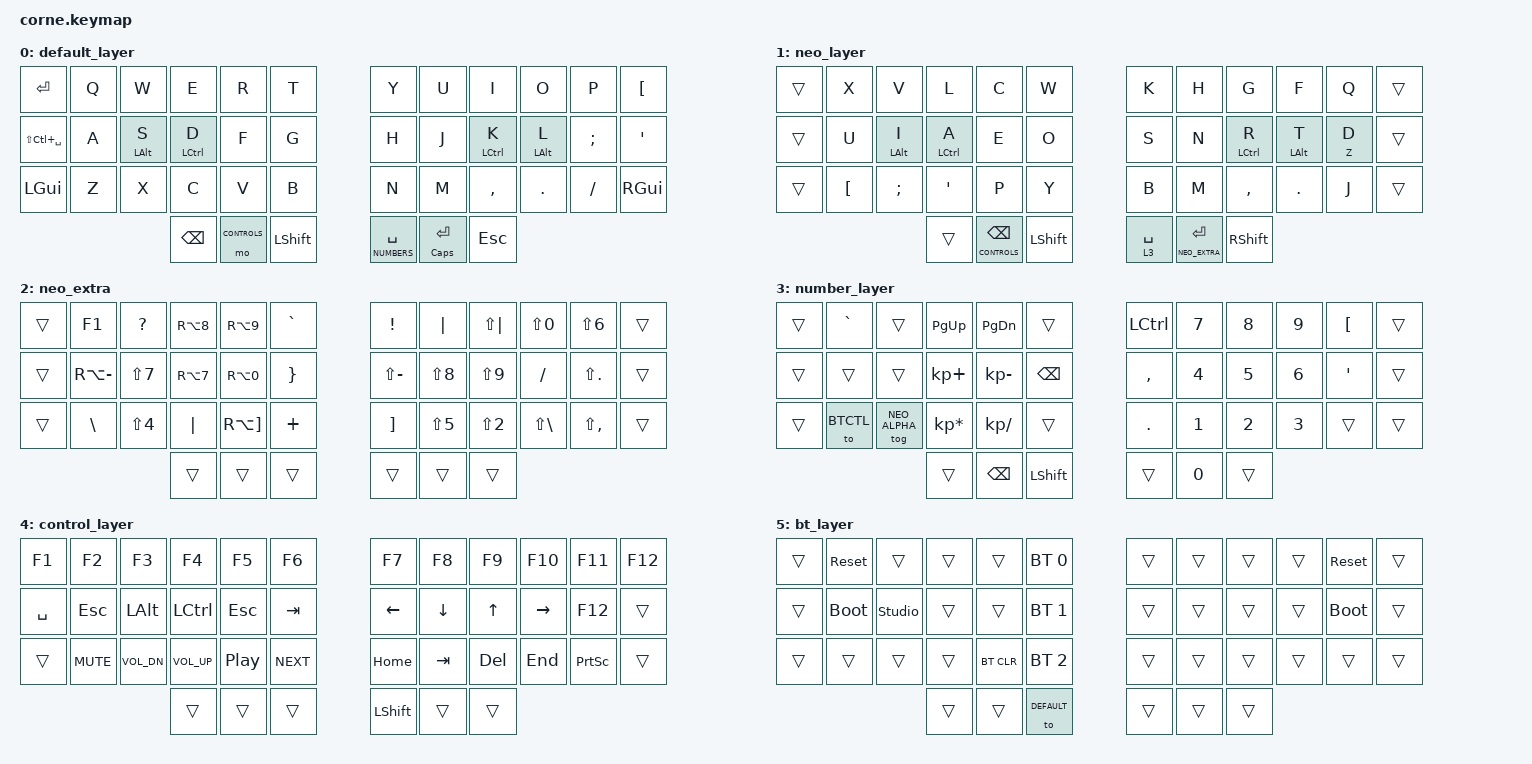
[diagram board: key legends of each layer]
// Copyright (c) 2022 The ZMK Contributors
// SPDX-License-Identifier: MIT

#include <behaviors.dtsi>
#include <dt-bindings/zmk/keys.h>
#include <dt-bindings/zmk/bt.h>

#define DEFAULT 0
#define NEO_ALPHA 1
#define NEO_EXTRA 2
#define NUMBERS 3
#define CONTROLS 4
#define BTCTL 5

&lt {
    tapping-term-ms = <150>;
    flavor = "tap-preferred";
};

/ {
    behaviors {
        ht: hold_tap {
            label = "hold_tap";
            compatible = "zmk,behavior-hold-tap";
            #binding-cells = <2>;
            flavor = "tap-preferred";
            tapping-term-ms = <150>;
            bindings = <&kp>, <&kp>;
            quick-tap-ms = <50>;
        };
    };

    keymap {
        compatible = "zmk,keymap";
        default_layer {
            bindings = <
        //╭──────────┬──────────┬──────────┬──────────┬──────────╮   ╭──────────┬──────────┬──────────┬──────────┬──────────╮
        //│  Q        │  W        │  E        │  R         │  T        │    │  Y       │  U         │  I        │  O         │  P        │ Ü
    &kp ENTER &kp Q      &kp W      &kp E      &kp R      &kp T                 &kp Y      &kp U      &kp I      &kp O      &kp P  &kp LBKT
        //├──────────┼──────────┼──────────┼──────────┼──────────┤   ├──────────┼──────────┼──────────┼──────────┼──────────┤
        //│  A         │  S        │  D        │  F        │  G         │   │  H        │  J        │  K        │  L         │ ' "       │
    &kp LS(LC(SPACE))  &kp A       &ht LALT S  &ht LCTRL D &kp F     &kp G               &kp H       &kp J       &ht LCTRL K &ht LALT L    &kp SEMICOLON &kp SINGLE_QUOTE
        //├──────────┼──────────┼──────────┼──────────┼──────────┤   ├──────────┼──────────┼──────────┼──────────┼──────────┤
        //│  Z        │  X         │  C        │  V        │  B         │  │  N         │  M        │ , <       │ . >        │ / ?       │
    &kp LEFT_GUI  &kp Z    &kp X      &kp C      &kp V      &kp B                 &kp N      &kp M      &kp COMMA  &kp DOT    &kp FSLH   &kp RIGHT_GUI
        //╰──────────┴──────────┴──────────┼──────────┼──────────┤   ├──────────┼──────────┼──────────┴──────────┴──────────╯
                                 &kp BSPC  &mo CONTROLS &kp LSHFT     &lt NUMBERS SPACE  &ht CAPS ENTER  &kp ESC
        //                                     ╰──────────┴──────────╯   ╰──────────┴──────────╯
            >;
        };

        neo_layer {
            bindings = <
        //╭──────────┬──────────┬──────────┬──────────┬──────────╮   ╭──────────┬──────────┬──────────┬──────────┬──────────╮
        //│           │           │            │           │           │    │           │           │            │           │           │
    &trans &kp X      &kp V        &kp L           &kp C      &kp W            &kp K      &kp H         &kp G      &kp F        &kp Q &trans
        //├──────────┼──────────┼──────────┼──────────┼──────────┤   ├──────────┼──────────┼──────────┼──────────┼──────────┤
        //│            │           │           │          │            │   │            │           │            │           │           │
    &trans &kp U       &ht LALT I    &ht LCTRL A       &kp E     &kp O         &kp S     &kp N      &ht LCTRL R    &ht LALT T   &ht Z D &trans
        //├──────────┼──────────┼──────────┼──────────┼──────────┤   ├──────────┼──────────┼──────────┼──────────┼──────────┤
        //│           │           │           │            │           │    │           │           │           │            │           │
    &trans &kp LBKT  &kp SEMICOLON &kp SINGLE_QUOTE  &kp P        &kp Y         &kp B          &kp M      &kp COMMA  &kp DOT       &kp J &trans
        //╰──────────┴──────────┴──────────┼──────────┼──────────┤   ├──────────┼──────────┼──────────┴──────────┴──────────╯
                                &trans &lt CONTROLS BSPC   &kp LSHFT        &lt 3 SPACE  &lt NEO_EXTRA ENTER &kp RSHFT
        //                                     ╰──────────┴──────────╯   ╰──────────┴──────────╯
            >;
        };


        neo_extra {
            bindings = <
        //╭──────────┬──────────┬──────────┬──────────┬──────────╮   ╭──────────┬──────────┬──────────┬──────────┬──────────╮
        //│   …       │   _       │   [        │     ]     │     ^     │    │    !      │    <      │     >      │   =       │    &      │
    &trans &kp F1      &kp QUESTION  &kp RA(N8)  &kp RA(N9)   &kp GRAVE        &kp EXCLAMATION  &kp PIPE &kp LS(PIPE) &kp LS(N0) &kp LS(N6) &trans
        //├──────────┼──────────┼──────────┼──────────┼──────────┤   ├──────────┼──────────┼──────────┼──────────┼──────────┤
        //│     \      │     /     │    {      │     }    │      *     │   │    ?       │       (   │      )     │     -     │     :     │
    &trans &kp RA(MINUS) &kp LS(N7) &kp RA(N7) &kp RA(N0)  &kp RBRC      &kp LS(MINUS) &kp LS(N8) &kp LS(N9)    &kp FSLH  &kp LS(DOT) &trans
        //├──────────┼──────────┼──────────┼──────────┼──────────┤   ├──────────┼──────────┼──────────┼──────────┼──────────┤
        //│   #       │     $     │     |     │    ~       │    `      │    │    +      │    %      │    "      │     '      │   ;       │
    &trans &kp BSLH  &kp LS(N4)    &kp PIPE    &kp RA(RBKT)   &kp PLUS         &kp RBKT   &kp LS(N5)   &kp LS(N2)   &kp LS(BSLH) &kp LS(COMMA) &trans
        //╰──────────┴──────────┴──────────┼──────────┼──────────┤   ├──────────┼──────────┼──────────┴──────────┴──────────╯
                                    &trans &trans     &trans      &trans     &trans &trans
        //                                 ╰──────────┴──────────╯   ╰──────────┴──────────╯
            >;
        };

        number_layer {
            bindings = <
        //╭──────────┬──────────┬──────────┬──────────┬──────────╮   ╭──────────┬──────────┬──────────┬──────────┬──────────╮
        //│           │           │            │           │           │    │           │           │            │           │           │
    &trans &kp GRAVE    &trans     &kp PG_UP     &kp PG_DN     &trans         &kp LCTRL   &kp N7       &kp N8       &kp N9     &kp LBKT &trans
        //├──────────┼──────────┼──────────┼──────────┼──────────┤   ├──────────┼──────────┼──────────┼──────────┼──────────┤ 
        //│            │           │           │          │            │   │            │           │            │           │           │
    &trans &trans      &trans     &kp KP_PLUS     &kp KP_MINUS     &kp BSPC         &kp COMMA       &kp N4      &kp N5        &kp N6   &kp SINGLE_QUOTE &trans
        //├──────────┼──────────┼──────────┼──────────┼──────────┤   ├──────────┼──────────┼──────────┼──────────┼──────────┤
        //│           │           │           │            │           │    │           │           │           │            │           │
    &trans &to BTCTL  &tog NEO_ALPHA &kp KP_MULTIPLY     &kp KP_DIVIDE     &trans         &kp DOT     &kp N1     &kp N2       &kp N3       &trans &trans
        //╰──────────┴──────────┴──────────┼──────────┼──────────┤   ├──────────┼──────────┼──────────┴──────────┴──────────╯
                                        &trans &kp BSPC     &kp LSHFT        &trans     &kp N0 &trans
        //                                     ╰──────────┴──────────╯   ╰──────────┴──────────╯
            >;
        };

        control_layer {
            bindings = <
        //╭──────────┬──────────┬──────────┬──────────┬──────────╮   ╭──────────┬──────────┬──────────┬──────────┬──────────╮
        //│           │           │            │           │           │    │           │           │            │           │           │
    &kp F1      &kp F2        &kp F3      &kp F4 &kp F5   &kp F6      &kp F7      &kp F8      &kp F9  &kp F10 &kp F11 &kp F12
        //├──────────┼──────────┼──────────┼──────────┼──────────┤   ├──────────┼──────────┼──────────┼──────────┼──────────┤
        //│            │           │           │          │            │   │            │           │            │           │           │
    &kp SPACE &kp ESC       &kp LALT    &kp LCTRL    &kp ESC    &kp TAB         &kp LEFT    &kp DOWN      &kp UP      &kp RIGHT   &kp F12 &trans
        //├──────────┼──────────┼──────────┼──────────┼──────────┤   ├──────────┼──────────┼──────────┼──────────┼──────────┤
        //│           │           │           │            │           │    │           │           │           │            │           │
    &trans &kp C_MUTE &kp C_VOL_DN &kp C_VOL_UP &kp C_PP &kp C_NEXT      &kp HOME  &kp TAB       &kp DEL     &kp END       &kp PRINTSCREEN &trans
        //╰──────────┴──────────┴──────────┼──────────┼──────────┤   ├──────────┼──────────┼──────────┴──────────┴──────────╯
                                        &trans &trans        &trans              &kp LSHFT     &trans &trans
        //                                     ╰──────────┴──────────╯   ╰──────────┴──────────╯
            >;
        };
        

        bt_layer {
            bindings = <
        //╭──────────┬──────────┬──────────┬──────────┬──────────╮   ╭──────────┬──────────┬──────────┬──────────┬──────────╮
        //│ RESET    │          │          │          │PROFILE 0 │   │          │          │          │          │  RESET   │
    &trans &sys_reset     &trans     &trans     &trans    &bt BT_SEL 0    &trans     &trans     &trans     &trans      &sys_reset &trans
        //├──────────┼──────────┼──────────┼──────────┼──────────┤   ├──────────┼──────────┼──────────┼──────────┼──────────┤
        //│BOOTLOADER│          │          │          │PROFILE 1 │   │          │          │          │          │BOOTLOADER│
    &trans &bootloader  &studio_unlock     &trans     &trans    &bt BT_SEL 1    &trans     &trans     &trans     &trans    &bootloader &trans
        //├──────────┼──────────┼──────────┼──────────┼──────────┤   ├──────────┼──────────┼──────────┼──────────┼──────────┤
        //│          │          │          │ CLEAR BT │PROFILE 2 │   │          │          │          │          │          │
    &trans &trans     &trans     &trans    &bt BT_CLR &bt BT_SEL 2    &trans     &trans     &trans     &trans     &trans &trans
        //╰──────────┴──────────┴──────────┼──────────┼──────────┤   ├──────────┼──────────┼──────────┴──────────┴──────────╯
                                    &trans &trans     &to DEFAULT         &trans     &trans &trans
        //                                 ╰──────────┴──────────╯   ╰──────────┴──────────╯
            >;
        };
    };
};
